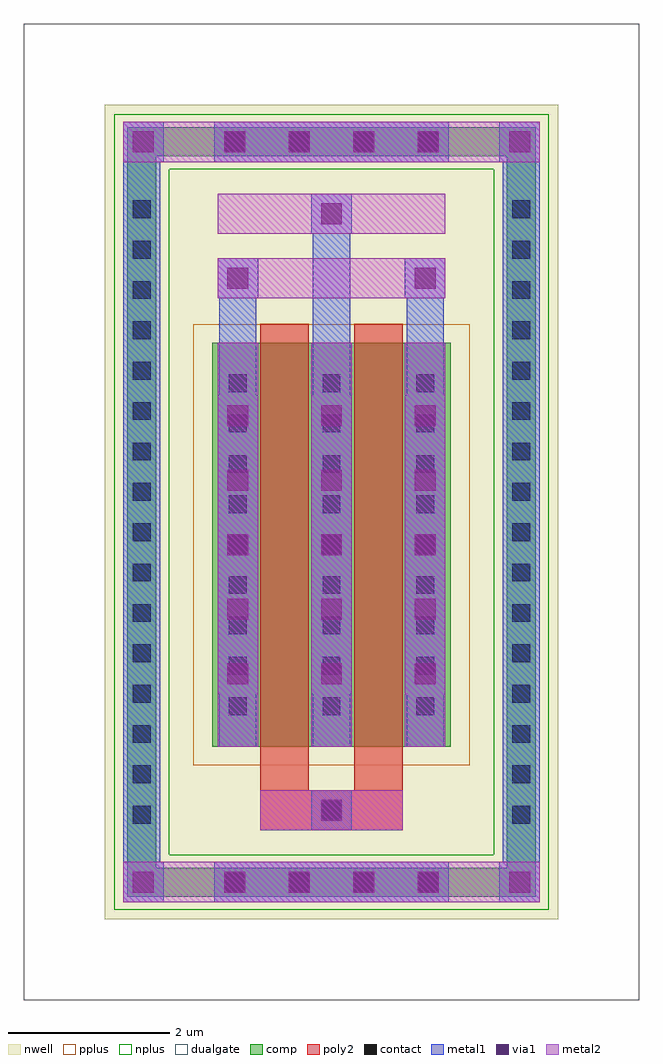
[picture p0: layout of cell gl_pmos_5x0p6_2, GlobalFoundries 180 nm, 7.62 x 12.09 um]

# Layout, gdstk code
import gdstk
lib = gdstk.Library(unit=1e-6, precision=1e-09)
def R(c, l, rs):  # rectangles x0, y0, x1, y1
    for r in rs: c.add(gdstk.rectangle(r[:2], r[2:], *l))
def A(c, l, x, y, w, h, nx, ny, dx, dy):  # array of equal rectangles
    R(c, l, [(x+i*dx, y+j*dy, x+i*dx+w, y+j*dy+h) for i in range(nx) for j in range(ny)])
def P(c, l, *ps):  # polygons
    for p in ps: c.add(gdstk.Polygon(p, *l))
nwell = (21, 0)
comp = (22, 0)
poly2 = (30, 0)
pplus = (31, 0)
nplus = (32, 0)
contact = (33, 0)
metal1 = (34, 0)
via1 = (35, 0)
metal2 = (36, 0)
dualgate = (55, 0)

gl_pmos_5x0p6_2 = lib.new_cell('gl_pmos_5x0p6_2')
R(gl_pmos_5x0p6_2, nwell, [(-2.81,-5.045,2.81,5.045), (-2.65,-4.885,2.65,4.885)])
A(gl_pmos_5x0p6_2, comp, -1.38, -4.765, 0.36, 0.36, 4, 2, 0.8, 9.17)
A(gl_pmos_5x0p6_2, comp, -2.53, -3.93, 0.36, 0.36, 1, 16, 0, 0.5)
A(gl_pmos_5x0p6_2, comp, 2.17, -3.93, 0.36, 0.36, 1, 16, 0, 0.5)
R(gl_pmos_5x0p6_2, comp, [(-1.38,-4.765,1.38,-4.405), (-2.53,-3.93,-2.17,3.93), (2.17,-3.93,2.53,3.93), (-1.48,-2.905,1.48,2.095), (-1.38,4.405,1.38,4.765)])
P(gl_pmos_5x0p6_2, comp, [(-2.53,-4.765),(-2.53,-4.405),(-2.17,-4.405),(2.17,-4.405),(2.17,4.405),(-2.17,4.405),(-2.17,-4.405),(-2.53,-4.405),(-2.53,4.765),(2.53,4.765),(2.53,-4.765)])
R(gl_pmos_5x0p6_2, poly2, [(-0.88,-3.945,0.88,-3.445), (-0.18,-3.875,0.18,-3.515), (-0.88,-3.445,-0.28,-3.145), (0.28,-3.445,0.88,-3.145), (-0.88,-3.145,-0.28,2.335), (0.28,-3.145,0.88,2.335)])
R(gl_pmos_5x0p6_2, pplus, [(-1.71,-3.135,1.71,2.325)])
P(gl_pmos_5x0p6_2, nplus, [(-2.69,-4.925),(-2.69,-4.245),(-2.01,-4.245),(2.01,-4.245),(2.01,4.245),(-2.01,4.245),(-2.01,-4.245),(-2.69,-4.245),(-2.69,4.925),(2.69,4.925),(2.69,-4.925)])
A(gl_pmos_5x0p6_2, contact, -1.31, -4.695, 0.22, 0.22, 4, 2, 0.8, 9.17)
A(gl_pmos_5x0p6_2, contact, -2.46, -3.86, 0.22, 0.22, 1, 16, 0, 0.5)
A(gl_pmos_5x0p6_2, contact, 2.24, -3.86, 0.22, 0.22, 1, 16, 0, 0.5)
A(gl_pmos_5x0p6_2, contact, -1.27, -2.515, 0.22, 0.22, 3, 9, 1.16, 0.5)
R(gl_pmos_5x0p6_2, contact, [(-0.11,-3.805,0.11,-3.585)])
A(gl_pmos_5x0p6_2, metal1, -1.45, -4.835, 0.5, 0.5, 4, 2, 0.8, 9.17)
A(gl_pmos_5x0p6_2, metal1, -2.58, -3.98, 0.46, 0.46, 1, 16, 0, 0.5)
A(gl_pmos_5x0p6_2, metal1, 2.12, -3.98, 0.46, 0.46, 1, 16, 0, 0.5)
A(gl_pmos_5x0p6_2, metal1, -1.39, -2.905, 0.46, 5, 3, 1, 1.16, 0)
A(gl_pmos_5x0p6_2, metal1, -1.39, -2.635, 0.46, 0.46, 3, 9, 1.16, 0.5)
A(gl_pmos_5x0p6_2, metal1, -1.41, -2.255, 0.5, 0.5, 3, 5, 1.16, 0.8)
A(gl_pmos_5x0p6_2, metal1, -1.41, -2.255, 0.5, 3.7, 3, 1, 1.16, 0)
R(gl_pmos_5x0p6_2, metal1, [(-2.58,-4.835,-2.08,-4.335), (-2.58,-4.835,-2.08,-4.335), (-2.58,-4.835,-2.12,-4.405), (-1.45,-4.835,1.45,-4.335), (2.08,-4.835,2.58,-4.335), (2.08,-4.835,2.58,-4.335), (2.12,-4.835,2.58,-4.405), (-2.58,-4.405,-2.12,4.405), (2.12,-4.405,2.58,4.405), (-0.25,-3.945,0.25,-3.445), (-1.39,2.095,-0.93,3.145), (-0.23,2.095,0.23,3.945), (0.93,2.095,1.39,3.145), (-1.41,2.645,-0.91,3.145), (0.91,2.645,1.41,3.145), (-0.25,3.445,0.25,3.945), (-2.58,4.335,-2.08,4.835), (-2.58,4.335,-2.08,4.835), (-1.45,4.335,1.45,4.835), (2.08,4.335,2.58,4.835), (2.08,4.335,2.58,4.835), (-2.58,4.405,-2.12,4.835), (2.12,4.405,2.58,4.835)])
A(gl_pmos_5x0p6_2, via1, -1.33, -4.715, 0.26, 0.26, 4, 2, 0.8, 9.17)
A(gl_pmos_5x0p6_2, via1, -1.29, -2.135, 0.26, 0.26, 3, 5, 1.16, 0.8)
R(gl_pmos_5x0p6_2, via1, [(-2.46,-4.715,-2.2,-4.455), (2.2,-4.715,2.46,-4.455), (-0.13,-3.825,0.13,-3.565), (-1.29,2.765,-1.03,3.025), (1.03,2.765,1.29,3.025), (-0.13,3.565,0.13,3.825), (-2.46,4.455,-2.2,4.715), (2.2,4.455,2.46,4.715)])
A(gl_pmos_5x0p6_2, metal2, -1.45, -4.835, 0.5, 0.5, 4, 2, 0.8, 9.17)
A(gl_pmos_5x0p6_2, metal2, -1.41, -2.905, 0.5, 5, 3, 1, 1.16, 0)
A(gl_pmos_5x0p6_2, metal2, -1.41, -2.255, 0.5, 0.5, 3, 5, 1.16, 0.8)
R(gl_pmos_5x0p6_2, metal2, [(-2.58,-4.835,-2.08,-4.335), (-2.58,-4.835,-2.08,-4.335), (-2.58,-4.835,-2.17,-4.335), (-2.17,-4.835,2.17,-4.335), (2.08,-4.835,2.58,-4.335), (2.08,-4.835,2.58,-4.335), (2.17,-4.835,2.58,-4.335), (-0.88,-3.945,0.88,-3.445), (-0.25,-3.945,0.25,-3.445), (-1.41,2.645,-0.91,3.145), (-1.41,2.645,1.41,3.145), (0.91,2.645,1.41,3.145), (-1.41,3.445,1.41,3.945), (-0.25,3.445,0.25,3.945), (-2.58,4.335,-2.08,4.835), (-2.58,4.335,-2.08,4.835), (-2.58,4.335,-2.17,4.835), (-2.17,4.335,2.17,4.835), (2.08,4.335,2.58,4.835), (2.08,4.335,2.58,4.835), (2.17,4.335,2.58,4.835)])
R(gl_pmos_5x0p6_2, dualgate, [(-3.81,-6.045,3.81,6.045)])

lib.write_gds('gl_pmos_5x0p6_2.gds')
